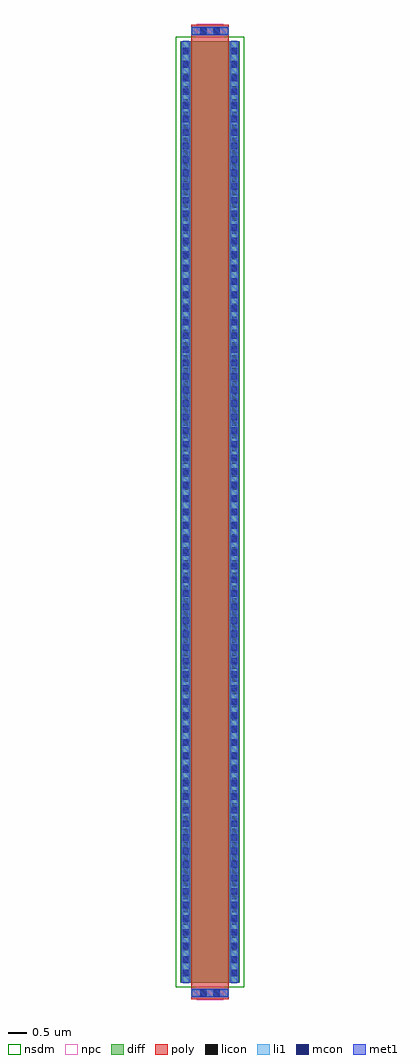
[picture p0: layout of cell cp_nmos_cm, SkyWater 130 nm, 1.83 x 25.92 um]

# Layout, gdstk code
import gdstk
lib = gdstk.Library(unit=1e-6, precision=1e-09)
def R(c, l, rs):  # rectangles x0, y0, x1, y1
    for r in rs: c.add(gdstk.rectangle(r[:2], r[2:], *l))
def A(c, l, x, y, w, h, nx, ny, dx, dy):  # array of equal rectangles
    R(c, l, [(x+i*dx, y+j*dy, x+i*dx+w, y+j*dy+h) for i in range(nx) for j in range(ny)])
diff = (65, 20)
poly = (66, 20)
licon = (66, 44)
li1 = (67, 20)
mcon = (67, 44)
met1 = (68, 20)
nsdm = (93, 44)
npc = (95, 20)

cp_nmos_cm = lib.new_cell('cp_nmos_cm')
R(cp_nmos_cm, diff, [(0,0.44,1.58,25.44)])
R(cp_nmos_cm, poly, [(0.29,0,1.29,25.88)])
A(cp_nmos_cm, licon, 0.06, 0.615, 0.17, 0.17, 1, 73, 0, 0.34)
A(cp_nmos_cm, licon, 1.35, 0.615, 0.17, 0.17, 1, 73, 0, 0.34)
R(cp_nmos_cm, licon, [(0.535,0.08,0.705,0.25), (0.875,0.08,1.045,0.25), (0.535,25.63,0.705,25.8), (0.875,25.63,1.045,25.8)])
R(cp_nmos_cm, li1, [(0.29,0.08,1.29,0.25), (0.06,0.42,0.23,25.46), (1.35,0.42,1.52,25.46), (0.29,25.63,1.29,25.8)])
A(cp_nmos_cm, mcon, 0.06, 0.615, 0.17, 0.17, 1, 69, 0, 0.36)
A(cp_nmos_cm, mcon, 1.35, 0.615, 0.17, 0.17, 1, 69, 0, 0.36)
R(cp_nmos_cm, mcon, [(0.525,0.08,0.695,0.25), (0.885,0.08,1.055,0.25), (0.525,25.63,0.695,25.8), (0.885,25.63,1.055,25.8)])
R(cp_nmos_cm, met1, [(0.31,0.05,1.27,0.28), (0.03,0.44,0.26,25.44), (1.32,0.44,1.55,25.44), (0.31,25.6,1.27,25.83)])
R(cp_nmos_cm, nsdm, [(-0.125,0.315,1.705,25.565)])
R(cp_nmos_cm, npc, [(0.435,-0.02,1.145,0.35), (0.435,25.53,1.145,25.9)])

lib.write_gds('cp_nmos_cm.gds')
